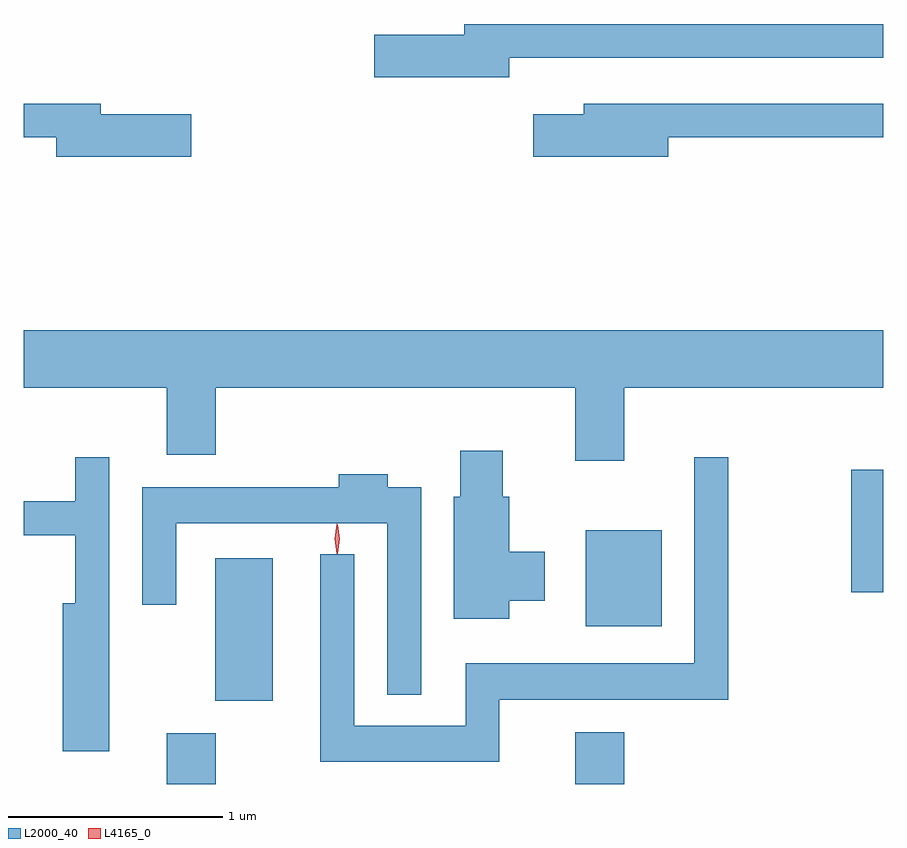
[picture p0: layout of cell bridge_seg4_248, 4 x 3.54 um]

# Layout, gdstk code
import gdstk
lib = gdstk.Library(unit=1e-6, precision=1e-09)
def R(c, l, rs):  # rectangles x0, y0, x1, y1
    for r in rs: c.add(gdstk.rectangle(r[:2], r[2:], *l))
def P(c, l, *ps):  # polygons
    for p in ps: c.add(gdstk.Polygon(p, *l))
L2000_40 = (2000, 40)
L4165_0 = (4165, 0)

bridge_seg4_248 = lib.new_cell('bridge_seg4_248')
R(bridge_seg4_248, L2000_40, [(622.781,1328.413,623.009,1328.649), (624.681,1328.413,624.909,1328.654), (623.006,1328.801,623.274,1329.464), (624.731,1329.146,625.084,1329.594), (625.966,1329.306,626.115,1329.874)])
P(bridge_seg4_248, L2000_40, [(624.374,1331.791),(626.115,1331.791),(626.115,1331.949),(624.166,1331.949),(624.166,1331.899),(623.746,1331.899),(623.746,1331.701),(624.374,1331.701)],
  [(622.894,1331.529),(622.474,1331.529),(622.474,1331.579),(622.115,1331.579),(622.115,1331.421),(622.266,1331.421),(622.266,1331.331),(622.894,1331.331)],
  [(625.114,1331.421),(626.115,1331.421),(626.115,1331.579),(624.721,1331.579),(624.721,1331.529),(624.486,1331.529),(624.486,1331.331),(625.114,1331.331)],
  [(622.115,1330.256),(622.781,1330.256),(622.781,1329.946),(623.009,1329.946),(623.009,1330.256),(624.681,1330.256),(624.681,1329.916),(624.909,1329.916),(624.909,1330.256),(626.115,1330.256),(626.115,1330.524),(622.115,1330.524)],
  [(624.374,1329.266),(624.539,1329.266),(624.539,1329.494),(624.374,1329.494),(624.374,1329.749),(624.344,1329.749),(624.344,1329.964),(624.146,1329.964),(624.146,1329.749),(624.116,1329.749),(624.116,1329.181),(624.374,1329.181)],
  [(624.329,1328.806),(625.394,1328.806),(625.394,1329.933),(625.236,1329.933),(625.236,1328.974),(624.171,1328.974),(624.171,1328.684),(623.654,1328.684),(623.654,1329.483),(623.496,1329.483),(623.496,1328.516),(624.329,1328.516)],
  [(622.514,1329.933),(622.356,1329.933),(622.356,1329.729),(622.115,1329.729),(622.115,1329.571),(622.356,1329.571),(622.356,1329.254),(622.296,1329.254),(622.296,1328.566),(622.514,1328.566)],
  [(623.964,1329.794),(623.809,1329.794),(623.809,1329.854),(623.581,1329.854),(623.581,1329.794),(622.666,1329.794),(622.666,1329.248),(622.824,1329.248),(622.824,1329.626),(623.806,1329.626),(623.806,1328.828),(623.964,1328.828)])
P(bridge_seg4_248, L4165_0, [(623.572,1329.484),(623.572,1329.484),(623.562,1329.553),(623.572,1329.622),(623.572,1329.623),(623.573,1329.622),(623.582,1329.553),(623.573,1329.484)],
  [(623.575,1329.487),(623.575,1329.487),(623.566,1329.554),(623.575,1329.62),(623.576,1329.62),(623.576,1329.62),(623.585,1329.554),(623.576,1329.487)])

lib.write_gds('bridge_seg4_248.gds')
